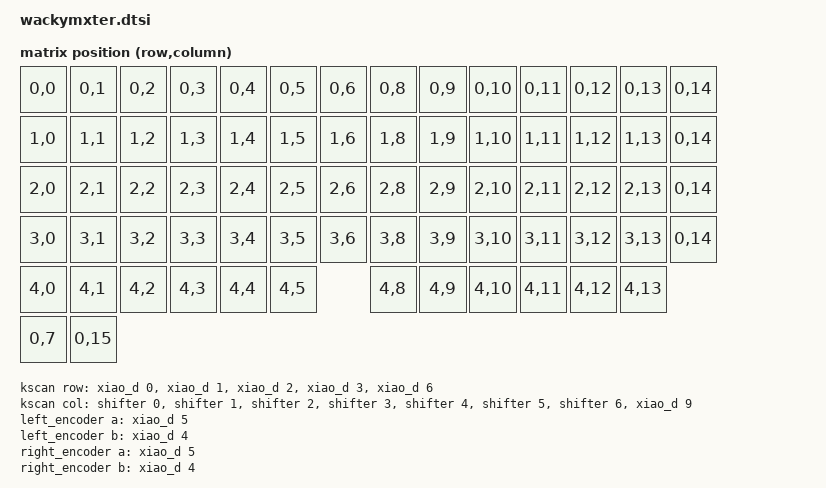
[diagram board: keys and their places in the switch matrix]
#include <dt-bindings/zmk/matrix_transform.h>

// Disable serial I/O to allow use of (RX) pin
&xiao_serial { status = "disabled"; };

&xiao_spi {
    status = "okay";
    cs-gpios = <&xiao_d 7 (GPIO_ACTIVE_LOW)>;
    shifter: 595@0 {
        compatible = "zmk,gpio-595";
        status = "okay";
        gpio-controller;
        spi-max-frequency = <200000>;
        reg = <0>;
		label = "74HC595";
        #gpio-cells = <2>;
        ngpios = <8>;
    };
};

/ {
	chosen {
		zmk,kscan = &kscan;
		zmk,matrix_transform = &transform;
	};

	transform: transform {
		compatible = "zmk,matrix-transform";
        // 7 columns for keys, 1 for the rotary encoder button
		columns = <16>;
		rows = <5>;
	
		map = <
			RC(0,0) RC(0,1) RC(0,2) RC(0,3) RC(0,4) RC(0,5) RC(0,6)   RC(0,8) RC(0,9) RC(0,10) RC(0,11) RC(0,12) RC(0,13) RC(0,14)
			RC(1,0) RC(1,1) RC(1,2) RC(1,3) RC(1,4) RC(1,5) RC(1,6)   RC(1,8) RC(1,9) RC(1,10) RC(1,11) RC(1,12) RC(1,13) RC(0,14)
			RC(2,0) RC(2,1) RC(2,2) RC(2,3) RC(2,4) RC(2,5) RC(2,6)   RC(2,8) RC(2,9) RC(2,10) RC(2,11) RC(2,12) RC(2,13) RC(0,14)
			RC(3,0) RC(3,1) RC(3,2) RC(3,3) RC(3,4) RC(3,5) RC(3,6)   RC(3,8) RC(3,9) RC(3,10) RC(3,11) RC(3,12) RC(3,13) RC(0,14)
			RC(4,0) RC(4,1) RC(4,2) RC(4,3) RC(4,4) RC(4,5)           RC(4,8) RC(4,9) RC(4,10) RC(4,11) RC(4,12) RC(4,13)
            RC(0,7) RC(0,15)
		>;
	};

	kscan: kscan {
		compatible = "zmk,kscan-gpio-matrix";
		label = "KSCAN";

		diode-direction = "col2row";

		col-gpios
               = <&shifter 0 (GPIO_ACTIVE_HIGH)>
               , <&shifter 1 (GPIO_ACTIVE_HIGH)>
               , <&shifter 2 (GPIO_ACTIVE_HIGH)>
               , <&shifter 3 (GPIO_ACTIVE_HIGH)>
               , <&shifter 4 (GPIO_ACTIVE_HIGH)>
               , <&shifter 5 (GPIO_ACTIVE_HIGH)>
               , <&shifter 6 (GPIO_ACTIVE_HIGH)>
               , <&xiao_d 9  (GPIO_ACTIVE_HIGH | GPIO_PULL_DOWN)>
               ;
           row-gpios
               = <&xiao_d 0  (GPIO_ACTIVE_HIGH | GPIO_PULL_DOWN)>
               , <&xiao_d 1  (GPIO_ACTIVE_HIGH | GPIO_PULL_DOWN)>
               , <&xiao_d 2 (GPIO_ACTIVE_HIGH | GPIO_PULL_DOWN)>
               , <&xiao_d 3 (GPIO_ACTIVE_HIGH | GPIO_PULL_DOWN)>
               , <&xiao_d 6 (GPIO_ACTIVE_HIGH | GPIO_PULL_DOWN)>
               ;
	};

    left_encoder: encoder_left {
        compatible = "alps,ec11";
        a-gpios = <&xiao_d 5 (GPIO_ACTIVE_HIGH | GPIO_PULL_UP)>;
        b-gpios = <&xiao_d 4 (GPIO_ACTIVE_HIGH | GPIO_PULL_UP)>;
        steps = <80>;
        status = "disabled";
    };


    right_encoder: encoder_right {
        compatible = "alps,ec11";
        a-gpios = <&xiao_d 5 (GPIO_ACTIVE_HIGH | GPIO_PULL_UP)>;
        b-gpios = <&xiao_d 4 (GPIO_ACTIVE_HIGH | GPIO_PULL_UP)>;
        steps = <80>;
        status = "disabled";
    };

    sensors {
        compatible = "zmk,keymap-sensors";
        sensors = <&left_encoder &right_encoder>;
        triggers-per-rotation = <20>;
    };
};
